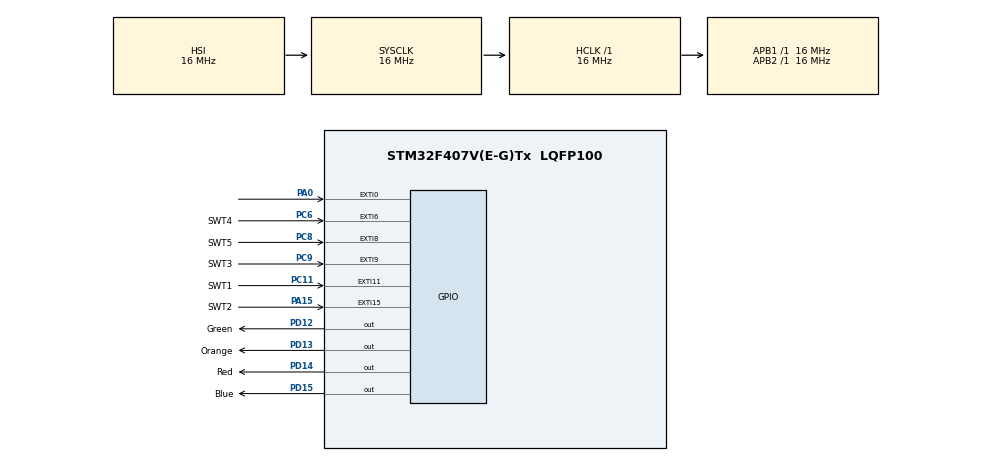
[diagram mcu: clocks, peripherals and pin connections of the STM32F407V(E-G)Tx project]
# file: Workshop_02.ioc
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Mcu.Family=STM32F4
Mcu.Name=STM32F407V(E-G)Tx
Mcu.Package=LQFP100
NVIC.EXTI0_IRQn=true\:0\:0\:false\:false\:true\:true\:true\:true
NVIC.EXTI15_10_IRQn=true\:0\:0\:false\:false\:true\:true\:true\:true
NVIC.EXTI9_5_IRQn=true\:0\:0\:false\:false\:true\:true\:true\:true
NVIC.PriorityGroup=NVIC_PRIORITYGROUP_4
PA0-WKUP.Signal=GPXTI0
PA15.GPIO_Label=SWT2
PA15.GPIO_PuPd=GPIO_PULLUP
PA15.Signal=GPXTI15
PC11.GPIO_Label=SWT1
PC11.GPIO_ModeDefaultEXTI=GPIO_MODE_IT_RISING
PC11.GPIO_PuPd=GPIO_PULLUP
PC11.Signal=GPXTI11
PC6.GPIO_Label=SWT4
PC6.GPIO_ModeDefaultEXTI=GPIO_MODE_IT_FALLING
PC6.GPIO_PuPd=GPIO_NOPULL
PC6.Signal=GPXTI6
PC8.GPIO_Label=SWT5
PC8.GPIO_PuPd=GPIO_PULLUP
PC8.Signal=GPXTI8
PC9.GPIO_Label=SWT3
PC9.GPIO_PuPd=GPIO_PULLUP
PC9.Signal=GPXTI9
PD12.GPIO_Label=Green
PD12.Signal=GPIO_Output
PD13.GPIO_Label=Orange
PD13.Signal=GPIO_Output
PD14.GPIO_Label=Red
PD14.Signal=GPIO_Output
PD15.GPIO_Label=Blue
PD15.Signal=GPIO_Output
ProjectManager.HeapSize=0x200
ProjectManager.StackSize=0x400
ProjectManager.TargetToolchain=STM32CubeIDE
RCC.AHBFreq_Value=16000000
RCC.APB1Freq_Value=16000000
RCC.APB2Freq_Value=16000000
RCC.CortexFreq_Value=16000000
RCC.HSE_VALUE=25000000
RCC.HSI_VALUE=16000000
RCC.LSE_VALUE=32768
RCC.SYSCLKFreq_VALUE=16000000
RCC.VCOOutputFreq_Value=192000000
board=custom

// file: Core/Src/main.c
/* USER CODE BEGIN Header */
/**
  ******************************************************************************
  * @file           : main.c
  * @brief          : Main program body
  ******************************************************************************
  * @attention
  *
  * Copyright (c) 2023 STMicroelectronics.
  * All rights reserved.
  *
  * This software is licensed under terms that can be found in the LICENSE file
  * in the root directory of this software component.
  * If no LICENSE file comes with this software, it is provided AS-IS.
  *
  ******************************************************************************
  */
/* USER CODE END Header */
#include "main.h"
#include "Buttons.h"

void SystemClock_Config(void);
static void MX_GPIO_Init(void);

/* USER CODE BEGIN 0 */
uint16_t Time = 100;
uint16_t StartStopFlag = 0;
uint16_t ModeFlag = 0;

void HAL_GPIO_EXTI_Callback (uint16_t GPIO_Pin)
{
	if(GPIO_Pin == SWT4_Pin)
	{
		FasterBlink();
	}
	if(GPIO_Pin == SWT5_Pin)
	{
		SlowerBlink();
	}
	if(GPIO_Pin == SWT2_Pin)
	{
		StartStop();
	}
	if(GPIO_Pin == SWT1_Pin)
		{
			ModeNext();
		}
	if(GPIO_Pin == SWT3_Pin)
		{
			ModePrev();
		}
}
/* USER CODE END 0 */

int main(void)
{

  /* MCU Configuration--------------------------------------------------------*/

  /* Reset of all peripherals, Initializes the Flash interface and the Systick. */
  HAL_Init();

  /* Configure the system clock */
  SystemClock_Config();

  /* Initialize all configured peripherals */
  MX_GPIO_Init();

  /* Infinite loop */
  /* USER CODE BEGIN WHILE */
  while (1)
  {

	  BlinkLED();
    /* USER CODE END WHILE */

  }
}

void SystemClock_Config(void)
{
  RCC_OscInitTypeDef RCC_OscInitStruct = {0};
  RCC_ClkInitTypeDef RCC_ClkInitStruct = {0};

  /** Configure the main internal regulator output voltage
  */
  __HAL_RCC_PWR_CLK_ENABLE();
  __HAL_PWR_VOLTAGESCALING_CONFIG(PWR_REGULATOR_VOLTAGE_SCALE1);

  /** Initializes the RCC Oscillators according to the specified parameters
  * in the RCC_OscInitTypeDef structure.
  */
  RCC_OscInitStruct.OscillatorType = RCC_OSCILLATORTYPE_HSI;
  RCC_OscInitStruct.HSIState = RCC_HSI_ON;
  RCC_OscInitStruct.HSICalibrationValue = RCC_HSICALIBRATION_DEFAULT;
  RCC_OscInitStruct.PLL.PLLState = RCC_PLL_NONE;
  if (HAL_RCC_OscConfig(&RCC_OscInitStruct) != HAL_OK)
  {
    Error_Handler();
  }

  /** Initializes the CPU, AHB and APB buses clocks
  */
  RCC_ClkInitStruct.ClockType = RCC_CLOCKTYPE_HCLK|RCC_CLOCKTYPE_SYSCLK
                              |RCC_CLOCKTYPE_PCLK1|RCC_CLOCKTYPE_PCLK2;
  RCC_ClkInitStruct.SYSCLKSource = RCC_SYSCLKSOURCE_HSI;
  RCC_ClkInitStruct.AHBCLKDivider = RCC_SYSCLK_DIV1;
  RCC_ClkInitStruct.APB1CLKDivider = RCC_HCLK_DIV1;
  RCC_ClkInitStruct.APB2CLKDivider = RCC_HCLK_DIV1;

  if (HAL_RCC_ClockConfig(&RCC_ClkInitStruct, FLASH_LATENCY_0) != HAL_OK)
  {
    Error_Handler();
  }
}

static void MX_GPIO_Init(void)
{
  GPIO_InitTypeDef GPIO_InitStruct = {0};

  /* GPIO Ports Clock Enable */
  __HAL_RCC_GPIOA_CLK_ENABLE();
  __HAL_RCC_GPIOD_CLK_ENABLE();
  __HAL_RCC_GPIOC_CLK_ENABLE();

  /*Configure GPIO pin Output Level */
  HAL_GPIO_WritePin(GPIOD, Green_Pin|Orange_Pin|Red_Pin|Blue_Pin, GPIO_PIN_RESET);

  /*Configure GPIO pin : PA0 */
  GPIO_InitStruct.Pin = GPIO_PIN_0;
  GPIO_InitStruct.Mode = GPIO_MODE_IT_RISING;
  GPIO_InitStruct.Pull = GPIO_NOPULL;
  HAL_GPIO_Init(GPIOA, &GPIO_InitStruct);

  /*Configure GPIO pins : Green_Pin Orange_Pin Red_Pin Blue_Pin */
  GPIO_InitStruct.Pin = Green_Pin|Orange_Pin|Red_Pin|Blue_Pin;
  GPIO_InitStruct.Mode = GPIO_MODE_OUTPUT_PP;
  GPIO_InitStruct.Pull = GPIO_NOPULL;
  GPIO_InitStruct.Speed = GPIO_SPEED_FREQ_LOW;
  HAL_GPIO_Init(GPIOD, &GPIO_InitStruct);

  /*Configure GPIO pin : SWT4_Pin */
  GPIO_InitStruct.Pin = SWT4_Pin;
  GPIO_InitStruct.Mode = GPIO_MODE_IT_FALLING;
  GPIO_InitStruct.Pull = GPIO_NOPULL;
  HAL_GPIO_Init(SWT4_GPIO_Port, &GPIO_InitStruct);

  /*Configure GPIO pins : SWT5_Pin SWT3_Pin SWT1_Pin */
  GPIO_InitStruct.Pin = SWT5_Pin|SWT3_Pin|SWT1_Pin;
  GPIO_InitStruct.Mode = GPIO_MODE_IT_RISING;
  GPIO_InitStruct.Pull = GPIO_PULLUP;
  HAL_GPIO_Init(GPIOC, &GPIO_InitStruct);

  /*Configure GPIO pin : SWT2_Pin */
  GPIO_InitStruct.Pin = SWT2_Pin;
  GPIO_InitStruct.Mode = GPIO_MODE_IT_RISING;
  GPIO_InitStruct.Pull = GPIO_PULLUP;
  HAL_GPIO_Init(SWT2_GPIO_Port, &GPIO_InitStruct);

  /* EXTI interrupt init*/
  HAL_NVIC_SetPriority(EXTI0_IRQn, 0, 0);
  HAL_NVIC_EnableIRQ(EXTI0_IRQn);

  HAL_NVIC_SetPriority(EXTI9_5_IRQn, 0, 0);
  HAL_NVIC_EnableIRQ(EXTI9_5_IRQn);

  HAL_NVIC_SetPriority(EXTI15_10_IRQn, 0, 0);
  HAL_NVIC_EnableIRQ(EXTI15_10_IRQn);

}

void Error_Handler(void)
{
  __disable_irq();
  while (1)
  {
  }
}
